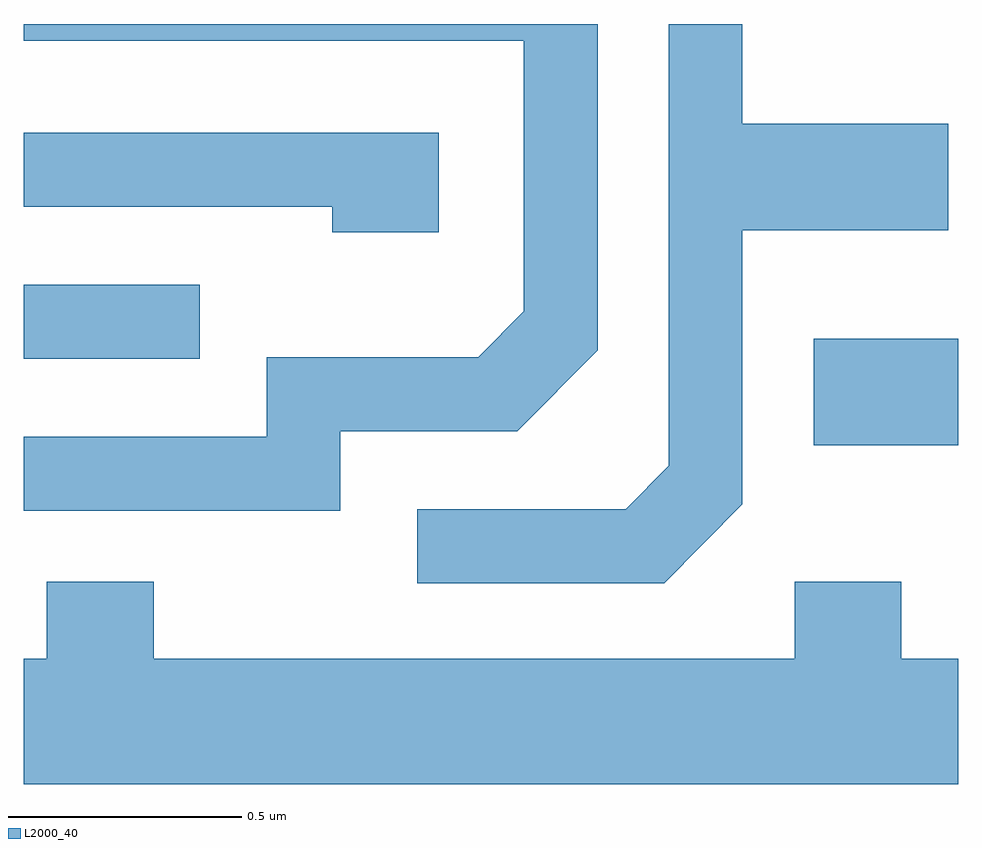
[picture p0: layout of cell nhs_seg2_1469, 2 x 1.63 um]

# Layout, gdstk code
import gdstk
lib = gdstk.Library(unit=1e-6, precision=1e-09)
def R(c, l, rs):  # rectangles x0, y0, x1, y1
    for r in rs: c.add(gdstk.rectangle(r[:2], r[2:], *l))
def P(c, l, *ps):  # polygons
    for p in ps: c.add(gdstk.Polygon(p, *l))
L2000_40 = (2000, 40)

nhs_seg2_1469 = lib.new_cell('nhs_seg2_1469')
R(nhs_seg2_1469, L2000_40, [(197.301,1077.901,197.611,1078.129), (195.611,1078.086,195.988,1078.244)])
P(nhs_seg2_1469, L2000_40, [(196.289,1077.931),(196.667,1077.931),(196.839,1078.104),(196.839,1078.802),(195.611,1078.802),(195.611,1078.766),(196.681,1078.766),(196.681,1078.187),(196.584,1078.089),(196.131,1078.089),(196.131,1077.919),(195.611,1077.919),(195.611,1077.761),(196.289,1077.761)],
  [(197.149,1077.774),(197.149,1078.361),(197.589,1078.361),(197.589,1078.589),(197.149,1078.589),(197.149,1078.802),(196.991,1078.802),(196.991,1077.857),(196.899,1077.764),(196.453,1077.764),(196.453,1077.606),(196.982,1077.606)],
  [(196.499,1078.569),(195.611,1078.569),(195.611,1078.411),(196.271,1078.411),(196.271,1078.356),(196.499,1078.356)],
  [(197.611,1077.444),(197.489,1077.444),(197.489,1077.609),(197.261,1077.609),(197.261,1077.444),(195.889,1077.444),(195.889,1077.609),(195.661,1077.609),(195.661,1077.444),(195.611,1077.444),(195.611,1077.176),(197.611,1077.176)])

lib.write_gds('nhs_seg2_1469.gds')
